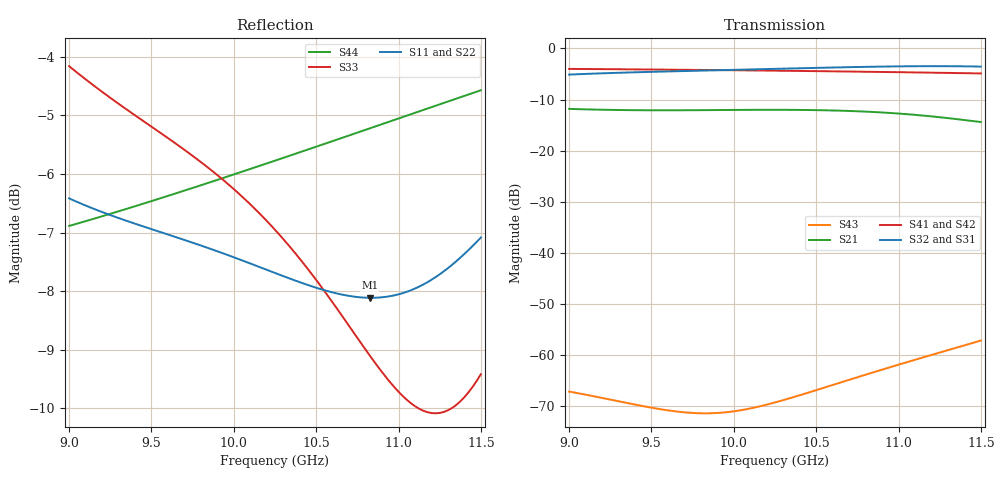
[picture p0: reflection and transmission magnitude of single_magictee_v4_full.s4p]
! Generated from PyAEDT SolutionData; AEDT ExportNetworkData workaround
# GHz S MA R 50
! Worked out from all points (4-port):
!   101 points, 9 GHz to 11.5 GHz, reference 50 ohm
!   strongest paths, dB at 9 GHz, 9.625 GHz, 10.25 GHz, 10.88 GHz, 11.5 GHz:
!     S32: -5.1, -4.5, -4.0, -3.6, -3.5
!     S31: -5.1, -4.5, -4.0, -3.6, -3.5
!     S41: -4.0, -4.2, -4.3, -4.6, -4.9
!     S42: -4.0, -4.2, -4.3, -4.6, -4.9
!     S21: -11.8, -12.1, -12.0, -12.5, -14.4
!     S43: -67.2, -71.0, -69.3, -63.2, -57.2
!   lowest |S11| = -8.1 dB at 10.82 GHz (marker M1), VSWR 2.29, Z = 21.8 - j1.47 ohm
!   |S11| at or under -10 dB: nowhere
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9  0.4777 21.1  0.2562 -47.5  0.5549 -6.7  0.6311 43.7
   0.2562 -47.5  0.4787 21.0  0.5551 -6.7  0.63 -136.3
   0.5549 -6.7  0.5551 -6.7  0.6196 168.1  0.0004367 37.9
   0.6311 43.7  0.63 -136.3  0.0004367 37.9  0.4525 -145.4
9.375  0.4558 -23.4  0.2491 -100.7  0.583 -74.1  0.6248 1.5
       0.2491 -100.7  0.4565 -23.5  0.5832 -74.1  0.6241 -178.5
       0.583 -74.1  0.5832 -74.1  0.5657 80.8  0.0003317 -46.0
       0.6248 1.5  0.6241 -178.5  0.0003317 -46.0  0.4692 175.2
9.675  0.4414 -57.8  0.2484 -141.8  0.6001 -125.9  0.6191 -31.4
       0.2484 -141.8  0.4419 -57.8  0.6003 -125.9  0.6186 148.7
       0.6001 -125.9  0.6003 -125.9  0.5287 13.9  0.000276 -119.7
       0.6191 -31.4  0.6186 148.7  0.000276 -119.7  0.4838 144.4
10  0.4254 -93.7  0.2502 174.4  0.6177 179.4  0.6122 -66.1
    0.2502 174.4  0.4258 -93.6  0.6178 179.4  0.6119 113.9
    0.6177 179.4  0.6178 179.4  0.4865 -56.5  0.0002798 154.6
    0.6122 -66.1  0.6119 113.9  0.0002798 154.6  0.5008 111.5
10.45  0.4028 -140.3  0.2497 114.7  0.6432 105.0  0.6014 -113.1
       0.2497 114.7  0.4029 -140.3  0.6431 105.0  0.6014 66.8
       0.6432 105.0  0.6431 105.0  0.4156 -154.2  0.0004253 46.8
       0.6014 -113.1  0.6014 66.8  0.0004253 46.8  0.5259 66.7
10.825  0.3929 -175.8  0.2398 66.1  0.6623 43.0  0.5912 -151.6
        0.2398 66.1  0.3928 -175.7  0.6621 43.0  0.5915 28.4
        0.6623 43.0  0.6621 43.0  0.3507 118.9  0.000657 -30.6
        0.5912 -151.6  0.5915 28.4  0.000657 -30.6  0.5483 29.9
11.5  0.4423 122.9  0.1905 -11.2  0.6659 -70.7  0.5698 140.2
      0.1905 -11.2  0.4419 123.1  0.6651 -70.8  0.5711 -39.9
      0.6659 -70.7  0.6651 -70.8  0.338 -60.7  0.00138 -160.8
      0.5698 140.2  0.5711 -39.9  0.00138 -160.8  0.591 -36.0
